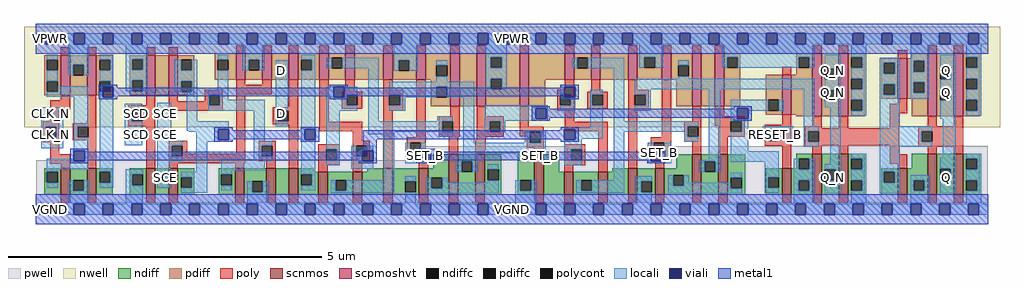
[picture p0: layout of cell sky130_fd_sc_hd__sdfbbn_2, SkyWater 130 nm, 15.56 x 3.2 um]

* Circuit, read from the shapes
.subckt sky130_fd_sc_hd__sdfbbn_2 CLK_N D RESET_B SCD SCE SET_B VGND VNB VPB VPWR Q Q_N
XM1 VGND CLK_N n1 VNB sky130_fd_pr__nfet_01v8 w=0.42 l=0.15
XM2 n2 n1 VGND VNB sky130_fd_pr__nfet_01v8 w=0.42 l=0.15
XM3 n3 SCD VGND VNB sky130_fd_pr__nfet_01v8 w=0.42 l=0.15
XM4 n4 SCE n3 VNB sky130_fd_pr__nfet_01v8 w=0.42 l=0.15
XM5 VGND SCE n5 VNB sky130_fd_pr__nfet_01v8 w=0.42 l=0.15
XM6 n6 n5 VGND VNB sky130_fd_pr__nfet_01v8 w=0.42 l=0.15
XM7 n4 D n6 VNB sky130_fd_pr__nfet_01v8 w=0.42 l=0.15
XM8 n7 n2 n4 VNB sky130_fd_pr__nfet_01v8 w=0.36 l=0.15
XM9 n8 n1 n7 VNB sky130_fd_pr__nfet_01v8 w=0.36 l=0.15
XM10 VGND n9 n8 VNB sky130_fd_pr__nfet_01v8 w=0.42 l=0.15
XM11 n10 SET_B VGND VNB sky130_fd_pr__nfet_01v8 w=0.42 l=0.15
XM12 n9 n7 n10 VNB sky130_fd_pr__nfet_01v8 w=0.64 l=0.15
XM13 n10 n11 n9 VNB sky130_fd_pr__nfet_01v8 w=0.64 l=0.15
XM14 n12 n9 VGND VNB sky130_fd_pr__nfet_01v8 w=0.64 l=0.15
XM15 n13 n1 n12 VNB sky130_fd_pr__nfet_01v8 w=0.36 l=0.15
XM16 n14 n2 n13 VNB sky130_fd_pr__nfet_01v8 w=0.36 l=0.15
XM17 VGND n15 n14 VNB sky130_fd_pr__nfet_01v8 w=0.42 l=0.15
XM18 n16 SET_B VGND VNB sky130_fd_pr__nfet_01v8 w=0.42 l=0.15
XM19 n15 n13 n16 VNB sky130_fd_pr__nfet_01v8 w=0.64 l=0.15
XM20 n16 n11 n15 VNB sky130_fd_pr__nfet_01v8 w=0.64 l=0.15
XM21 VGND RESET_B n11 VNB sky130_fd_pr__nfet_01v8 w=0.42 l=0.15
XM22 Q_N n15 VGND VNB sky130_fd_pr__nfet_01v8 w=0.65 l=0.15 m=2
XM23 VGND n15 n17 VNB sky130_fd_pr__nfet_01v8 w=0.42 l=0.15
XM24 Q n17 VGND VNB sky130_fd_pr__nfet_01v8 w=0.65 l=0.15 m=2
XM25 VPWR CLK_N n1 VPB sky130_fd_pr__pfet_01v8_hvt w=0.64 l=0.15
XM26 n2 n1 VPWR VPB sky130_fd_pr__pfet_01v8_hvt w=0.64 l=0.15
XM27 n18 SCD VPWR VPB sky130_fd_pr__pfet_01v8_hvt w=0.64 l=0.15
XM28 n4 n5 n18 VPB sky130_fd_pr__pfet_01v8_hvt w=0.64 l=0.15
XM29 VPWR SCE n5 VPB sky130_fd_pr__pfet_01v8_hvt w=0.42 l=0.15
XM30 n19 SCE VPWR VPB sky130_fd_pr__pfet_01v8_hvt w=0.42 l=0.15
XM31 n4 D n19 VPB sky130_fd_pr__pfet_01v8_hvt w=0.42 l=0.15
XM32 n7 n1 n4 VPB sky130_fd_pr__pfet_01v8_hvt w=0.42 l=0.15
XM33 n20 n2 n7 VPB sky130_fd_pr__pfet_01v8_hvt w=0.42 l=0.15
XM34 VPWR n9 n20 VPB sky130_fd_pr__pfet_01v8_hvt w=0.42 l=0.15
XM35 n9 SET_B VPWR VPB sky130_fd_pr__pfet_01v8_hvt w=0.42 l=0.15
XM36 n21 n7 n9 VPB sky130_fd_pr__pfet_01v8_hvt w=0.84 l=0.15
XM37 VPWR n11 n21 VPB sky130_fd_pr__pfet_01v8_hvt w=0.84 l=0.15
XM38 n22 n9 VPWR VPB sky130_fd_pr__pfet_01v8_hvt w=0.84 l=0.15
XM39 n13 n2 n22 VPB sky130_fd_pr__pfet_01v8_hvt w=0.42 l=0.15
XM40 n23 n1 n13 VPB sky130_fd_pr__pfet_01v8_hvt w=0.42 l=0.15
XM41 VPWR n15 n23 VPB sky130_fd_pr__pfet_01v8_hvt w=0.42 l=0.15
XM42 n15 SET_B VPWR VPB sky130_fd_pr__pfet_01v8_hvt w=0.42 l=0.15
XM43 n24 n13 n15 VPB sky130_fd_pr__pfet_01v8_hvt w=0.84 l=0.15
XM44 VPWR n11 n24 VPB sky130_fd_pr__pfet_01v8_hvt w=0.84 l=0.15
XM45 VPWR RESET_B n11 VPB sky130_fd_pr__pfet_01v8_hvt w=0.64 l=0.15
XM46 Q_N n15 VPWR VPB sky130_fd_pr__pfet_01v8_hvt w=1 l=0.15 m=2
XM47 VPWR n15 n17 VPB sky130_fd_pr__pfet_01v8_hvt w=0.64 l=0.15
XM48 Q n17 VPWR VPB sky130_fd_pr__pfet_01v8_hvt w=1 l=0.15 m=2
.ends

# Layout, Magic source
magic
tech sky130A
magscale 1 2
<< nwell >>
rect -38 261 3074 582
<< pwell >>
rect 2398 201 3035 203
rect 1241 157 1695 201
rect 2016 157 3035 201
rect 1 21 3035 157
rect 29 -17 63 21
<< scnmos >>
rect 79 47 109 131
rect 163 47 193 131
rect 351 47 381 131
rect 423 47 453 131
rect 635 47 665 131
rect 734 47 764 131
rect 806 47 836 131
rect 901 47 931 119
rect 1011 47 1041 119
rect 1107 47 1137 131
rect 1221 47 1251 131
rect 1317 47 1347 175
rect 1401 47 1431 175
rect 1589 47 1619 175
rect 1684 47 1714 119
rect 1793 47 1823 119
rect 1888 47 1918 131
rect 1974 47 2004 131
rect 2092 47 2122 175
rect 2176 47 2206 175
rect 2379 47 2409 131
rect 2476 47 2506 177
rect 2560 47 2590 177
rect 2748 47 2778 131
rect 2843 47 2873 177
rect 2927 47 2957 177
<< scpmoshvt >>
rect 79 363 109 491
rect 163 363 193 491
rect 351 363 381 491
rect 423 363 453 491
rect 638 413 668 497
rect 722 413 752 497
rect 806 413 836 497
rect 903 413 933 497
rect 987 413 1017 497
rect 1107 413 1137 497
rect 1213 413 1243 497
rect 1321 329 1351 497
rect 1405 329 1435 497
rect 1542 329 1572 497
rect 1686 413 1716 497
rect 1770 413 1800 497
rect 1888 413 1918 497
rect 1996 413 2026 497
rect 2092 329 2122 497
rect 2164 329 2194 497
rect 2379 301 2409 429
rect 2476 297 2506 497
rect 2560 297 2590 497
rect 2748 353 2778 481
rect 2843 297 2873 497
rect 2927 297 2957 497
<< ndiff >>
rect 27 119 79 131
rect 27 85 35 119
rect 69 85 79 119
rect 27 47 79 85
rect 109 93 163 131
rect 109 59 119 93
rect 153 59 163 93
rect 109 47 163 59
rect 193 119 245 131
rect 193 85 203 119
rect 237 85 245 119
rect 193 47 245 85
rect 299 111 351 131
rect 299 77 307 111
rect 341 77 351 111
rect 299 47 351 77
rect 381 47 423 131
rect 453 103 505 131
rect 453 69 463 103
rect 497 69 505 103
rect 453 47 505 69
rect 583 111 635 131
rect 583 77 591 111
rect 625 77 635 111
rect 583 47 635 77
rect 665 89 734 131
rect 665 55 690 89
rect 724 55 734 89
rect 665 47 734 55
rect 764 47 806 131
rect 836 119 886 131
rect 1267 131 1317 175
rect 1056 119 1107 131
rect 836 111 901 119
rect 836 77 846 111
rect 880 77 901 111
rect 836 47 901 77
rect 931 93 1011 119
rect 931 59 956 93
rect 990 59 1011 93
rect 931 47 1011 59
rect 1041 47 1107 119
rect 1137 89 1221 131
rect 1137 55 1177 89
rect 1211 55 1221 89
rect 1137 47 1221 55
rect 1251 101 1317 131
rect 1251 67 1261 101
rect 1295 67 1317 101
rect 1251 47 1317 67
rect 1347 153 1401 175
rect 1347 119 1357 153
rect 1391 119 1401 153
rect 1347 47 1401 119
rect 1431 127 1483 175
rect 1431 93 1441 127
rect 1475 93 1483 127
rect 1431 47 1483 93
rect 1537 93 1589 175
rect 1537 59 1545 93
rect 1579 59 1589 93
rect 1537 47 1589 59
rect 1619 119 1669 175
rect 2042 131 2092 175
rect 1838 119 1888 131
rect 1619 47 1684 119
rect 1714 93 1793 119
rect 1714 59 1739 93
rect 1773 59 1793 93
rect 1714 47 1793 59
rect 1823 47 1888 119
rect 1918 89 1974 131
rect 1918 55 1930 89
rect 1964 55 1974 89
rect 1918 47 1974 55
rect 2004 109 2092 131
rect 2004 75 2032 109
rect 2066 75 2092 109
rect 2004 47 2092 75
rect 2122 153 2176 175
rect 2122 119 2132 153
rect 2166 119 2176 153
rect 2122 47 2176 119
rect 2206 101 2261 175
rect 2424 161 2476 177
rect 2424 131 2432 161
rect 2206 67 2216 101
rect 2250 67 2261 101
rect 2206 47 2261 67
rect 2327 103 2379 131
rect 2327 69 2335 103
rect 2369 69 2379 103
rect 2327 47 2379 69
rect 2409 127 2432 131
rect 2466 127 2476 161
rect 2409 93 2476 127
rect 2409 59 2432 93
rect 2466 59 2476 93
rect 2409 47 2476 59
rect 2506 127 2560 177
rect 2506 93 2516 127
rect 2550 93 2560 127
rect 2506 47 2560 93
rect 2590 161 2642 177
rect 2590 127 2600 161
rect 2634 127 2642 161
rect 2793 131 2843 177
rect 2590 93 2642 127
rect 2590 59 2600 93
rect 2634 59 2642 93
rect 2590 47 2642 59
rect 2696 119 2748 131
rect 2696 85 2704 119
rect 2738 85 2748 119
rect 2696 47 2748 85
rect 2778 93 2843 131
rect 2778 59 2799 93
rect 2833 59 2843 93
rect 2778 47 2843 59
rect 2873 129 2927 177
rect 2873 95 2883 129
rect 2917 95 2927 129
rect 2873 47 2927 95
rect 2957 161 3009 177
rect 2957 127 2967 161
rect 3001 127 3009 161
rect 2957 93 3009 127
rect 2957 59 2967 93
rect 3001 59 3009 93
rect 2957 47 3009 59
<< pdiff >>
rect 27 477 79 491
rect 27 443 35 477
rect 69 443 79 477
rect 27 409 79 443
rect 27 375 35 409
rect 69 375 79 409
rect 27 363 79 375
rect 109 461 163 491
rect 109 427 119 461
rect 153 427 163 461
rect 109 363 163 427
rect 193 477 245 491
rect 193 443 203 477
rect 237 443 245 477
rect 193 409 245 443
rect 193 375 203 409
rect 237 375 245 409
rect 193 363 245 375
rect 299 479 351 491
rect 299 445 307 479
rect 341 445 351 479
rect 299 411 351 445
rect 299 377 307 411
rect 341 377 351 411
rect 299 363 351 377
rect 381 363 423 491
rect 453 477 505 491
rect 453 443 463 477
rect 497 443 505 477
rect 453 409 505 443
rect 571 477 638 497
rect 571 443 579 477
rect 613 443 638 477
rect 571 413 638 443
rect 668 477 722 497
rect 668 443 678 477
rect 712 443 722 477
rect 668 413 722 443
rect 752 413 806 497
rect 836 477 903 497
rect 836 443 846 477
rect 880 443 903 477
rect 836 413 903 443
rect 933 484 987 497
rect 933 450 943 484
rect 977 450 987 484
rect 933 413 987 450
rect 1017 413 1107 497
rect 1137 475 1213 497
rect 1137 441 1157 475
rect 1191 441 1213 475
rect 1137 413 1213 441
rect 1243 459 1321 497
rect 1243 425 1277 459
rect 1311 425 1321 459
rect 1243 413 1321 425
rect 453 375 463 409
rect 497 375 505 409
rect 453 363 505 375
rect 1259 391 1321 413
rect 1259 357 1277 391
rect 1311 357 1321 391
rect 1259 329 1321 357
rect 1351 329 1405 497
rect 1435 485 1542 497
rect 1435 451 1451 485
rect 1485 451 1542 485
rect 1435 417 1542 451
rect 1435 383 1451 417
rect 1485 383 1542 417
rect 1435 329 1542 383
rect 1572 413 1686 497
rect 1716 484 1770 497
rect 1716 450 1726 484
rect 1760 450 1770 484
rect 1716 413 1770 450
rect 1800 413 1888 497
rect 1918 485 1996 497
rect 1918 451 1940 485
rect 1974 451 1996 485
rect 1918 413 1996 451
rect 2026 459 2092 497
rect 2026 425 2048 459
rect 2082 425 2092 459
rect 2026 413 2092 425
rect 1572 329 1624 413
rect 2041 329 2092 413
rect 2122 329 2164 497
rect 2194 485 2246 497
rect 2194 451 2204 485
rect 2238 451 2246 485
rect 2424 485 2476 497
rect 2194 329 2246 451
rect 2424 451 2432 485
rect 2466 451 2476 485
rect 2424 429 2476 451
rect 2327 349 2379 429
rect 2327 315 2335 349
rect 2369 315 2379 349
rect 2327 301 2379 315
rect 2409 301 2476 429
rect 2424 297 2476 301
rect 2506 448 2560 497
rect 2506 414 2516 448
rect 2550 414 2560 448
rect 2506 380 2560 414
rect 2506 346 2516 380
rect 2550 346 2560 380
rect 2506 297 2560 346
rect 2590 485 2642 497
rect 2590 451 2600 485
rect 2634 451 2642 485
rect 2793 481 2843 497
rect 2590 417 2642 451
rect 2590 383 2600 417
rect 2634 383 2642 417
rect 2590 349 2642 383
rect 2696 467 2748 481
rect 2696 433 2704 467
rect 2738 433 2748 467
rect 2696 399 2748 433
rect 2696 365 2704 399
rect 2738 365 2748 399
rect 2696 353 2748 365
rect 2778 473 2843 481
rect 2778 439 2799 473
rect 2833 439 2843 473
rect 2778 405 2843 439
rect 2778 371 2799 405
rect 2833 371 2843 405
rect 2778 353 2843 371
rect 2590 315 2600 349
rect 2634 315 2642 349
rect 2590 297 2642 315
rect 2793 297 2843 353
rect 2873 449 2927 497
rect 2873 415 2883 449
rect 2917 415 2927 449
rect 2873 381 2927 415
rect 2873 347 2883 381
rect 2917 347 2927 381
rect 2873 297 2927 347
rect 2957 485 3009 497
rect 2957 451 2967 485
rect 3001 451 3009 485
rect 2957 417 3009 451
rect 2957 383 2967 417
rect 3001 383 3009 417
rect 2957 349 3009 383
rect 2957 315 2967 349
rect 3001 315 3009 349
rect 2957 297 3009 315
<< ndiffc >>
rect 35 85 69 119
rect 119 59 153 93
rect 203 85 237 119
rect 307 77 341 111
rect 463 69 497 103
rect 591 77 625 111
rect 690 55 724 89
rect 846 77 880 111
rect 956 59 990 93
rect 1177 55 1211 89
rect 1261 67 1295 101
rect 1357 119 1391 153
rect 1441 93 1475 127
rect 1545 59 1579 93
rect 1739 59 1773 93
rect 1930 55 1964 89
rect 2032 75 2066 109
rect 2132 119 2166 153
rect 2216 67 2250 101
rect 2335 69 2369 103
rect 2432 127 2466 161
rect 2432 59 2466 93
rect 2516 93 2550 127
rect 2600 127 2634 161
rect 2600 59 2634 93
rect 2704 85 2738 119
rect 2799 59 2833 93
rect 2883 95 2917 129
rect 2967 127 3001 161
rect 2967 59 3001 93
<< pdiffc >>
rect 35 443 69 477
rect 35 375 69 409
rect 119 427 153 461
rect 203 443 237 477
rect 203 375 237 409
rect 307 445 341 479
rect 307 377 341 411
rect 463 443 497 477
rect 579 443 613 477
rect 678 443 712 477
rect 846 443 880 477
rect 943 450 977 484
rect 1157 441 1191 475
rect 1277 425 1311 459
rect 463 375 497 409
rect 1277 357 1311 391
rect 1451 451 1485 485
rect 1451 383 1485 417
rect 1726 450 1760 484
rect 1940 451 1974 485
rect 2048 425 2082 459
rect 2204 451 2238 485
rect 2432 451 2466 485
rect 2335 315 2369 349
rect 2516 414 2550 448
rect 2516 346 2550 380
rect 2600 451 2634 485
rect 2600 383 2634 417
rect 2704 433 2738 467
rect 2704 365 2738 399
rect 2799 439 2833 473
rect 2799 371 2833 405
rect 2600 315 2634 349
rect 2883 415 2917 449
rect 2883 347 2917 381
rect 2967 451 3001 485
rect 2967 383 3001 417
rect 2967 315 3001 349
<< poly >>
rect 79 491 109 517
rect 163 491 193 517
rect 351 491 381 517
rect 423 491 453 517
rect 638 497 668 523
rect 722 497 752 523
rect 806 497 836 523
rect 903 497 933 523
rect 987 497 1017 523
rect 1107 497 1137 523
rect 1213 497 1243 523
rect 1321 497 1351 523
rect 1405 497 1435 523
rect 1542 497 1572 523
rect 1686 497 1716 523
rect 1770 497 1800 523
rect 1888 497 1918 523
rect 1996 497 2026 523
rect 2092 497 2122 523
rect 2164 497 2194 523
rect 2476 497 2506 523
rect 2560 497 2590 523
rect 638 397 668 413
rect 722 397 752 413
rect 539 365 596 381
rect 79 348 109 363
rect 45 318 109 348
rect 45 280 75 318
rect 21 264 75 280
rect 163 274 193 363
rect 351 331 381 363
rect 21 230 31 264
rect 65 230 75 264
rect 21 214 75 230
rect 117 264 193 274
rect 295 315 381 331
rect 423 345 453 363
rect 539 345 552 365
rect 423 331 552 345
rect 586 331 596 365
rect 423 315 596 331
rect 638 367 752 397
rect 295 281 305 315
rect 339 281 381 315
rect 295 265 381 281
rect 117 230 133 264
rect 167 230 193 264
rect 117 220 193 230
rect 45 176 75 214
rect 45 146 109 176
rect 79 131 109 146
rect 163 131 193 220
rect 351 131 381 265
rect 423 203 483 219
rect 423 169 433 203
rect 467 177 483 203
rect 638 177 668 367
rect 806 325 836 413
rect 755 315 836 325
rect 755 281 771 315
rect 805 281 836 315
rect 755 271 836 281
rect 467 169 668 177
rect 423 147 668 169
rect 710 203 764 219
rect 710 169 720 203
rect 754 169 764 203
rect 710 153 764 169
rect 423 131 453 147
rect 635 131 665 147
rect 734 131 764 153
rect 806 131 836 271
rect 903 279 933 413
rect 987 375 1017 413
rect 1107 381 1137 413
rect 975 365 1041 375
rect 975 331 991 365
rect 1025 331 1041 365
rect 975 321 1041 331
rect 1107 365 1171 381
rect 1107 331 1127 365
rect 1161 331 1171 365
rect 1107 315 1171 331
rect 903 249 1041 279
rect 1011 219 1041 249
rect 901 191 969 207
rect 901 157 925 191
rect 959 157 969 191
rect 901 141 969 157
rect 1011 203 1065 219
rect 1011 169 1021 203
rect 1055 169 1065 203
rect 1011 153 1065 169
rect 901 119 931 141
rect 1011 119 1041 153
rect 1107 131 1137 315
rect 1213 229 1243 413
rect 1686 381 1716 413
rect 1662 365 1716 381
rect 1770 375 1800 413
rect 1888 381 1918 413
rect 1662 331 1672 365
rect 1706 331 1716 365
rect 1321 297 1351 329
rect 1285 281 1351 297
rect 1285 247 1295 281
rect 1329 247 1351 281
rect 1285 231 1351 247
rect 1405 297 1435 329
rect 1405 281 1491 297
rect 1405 247 1447 281
rect 1481 247 1491 281
rect 1405 231 1491 247
rect 1542 263 1572 329
rect 1662 315 1716 331
rect 1758 365 1824 375
rect 1758 331 1774 365
rect 1808 331 1824 365
rect 1758 321 1824 331
rect 1888 365 1954 381
rect 1888 331 1910 365
rect 1944 331 1954 365
rect 1686 279 1716 315
rect 1888 315 1954 331
rect 1542 247 1619 263
rect 1686 249 1823 279
rect 1542 233 1575 247
rect 1183 213 1243 229
rect 1183 179 1193 213
rect 1227 193 1243 213
rect 1227 179 1251 193
rect 1183 163 1251 179
rect 1317 175 1347 231
rect 1405 220 1435 231
rect 1401 190 1435 220
rect 1565 213 1575 233
rect 1609 213 1619 247
rect 1565 197 1619 213
rect 1401 175 1431 190
rect 1589 175 1619 197
rect 1684 191 1751 207
rect 1221 131 1251 163
rect 1684 157 1707 191
rect 1741 157 1751 191
rect 1684 141 1751 157
rect 1684 119 1714 141
rect 1793 119 1823 249
rect 1888 131 1918 315
rect 1996 229 2026 413
rect 2379 429 2409 455
rect 2092 281 2122 329
rect 1960 213 2026 229
rect 2068 265 2122 281
rect 2164 297 2194 329
rect 2164 281 2260 297
rect 2164 267 2216 281
rect 2068 231 2078 265
rect 2112 231 2122 265
rect 2068 215 2122 231
rect 1960 179 1970 213
rect 2004 179 2026 213
rect 1960 163 2026 179
rect 2092 175 2122 215
rect 2176 247 2216 267
rect 2250 247 2260 281
rect 2379 269 2409 301
rect 2748 481 2778 507
rect 2843 497 2873 523
rect 2927 497 2957 523
rect 2748 337 2778 353
rect 2722 307 2778 337
rect 2176 231 2260 247
rect 2324 253 2409 269
rect 2476 265 2506 297
rect 2176 175 2206 231
rect 2324 219 2334 253
rect 2368 219 2409 253
rect 2324 203 2409 219
rect 1974 131 2004 163
rect 2379 131 2409 203
rect 2452 259 2506 265
rect 2560 259 2590 297
rect 2722 259 2752 307
rect 2843 265 2873 297
rect 2927 265 2957 297
rect 2452 249 2752 259
rect 2452 215 2462 249
rect 2496 215 2752 249
rect 2452 205 2752 215
rect 2452 199 2506 205
rect 2476 177 2506 199
rect 2560 177 2590 205
rect 2722 176 2752 205
rect 2814 249 2957 265
rect 2814 215 2824 249
rect 2858 215 2957 249
rect 2814 199 2957 215
rect 2843 177 2873 199
rect 2927 177 2957 199
rect 2722 146 2778 176
rect 2748 131 2778 146
rect 79 21 109 47
rect 163 21 193 47
rect 351 21 381 47
rect 423 21 453 47
rect 635 21 665 47
rect 734 21 764 47
rect 806 21 836 47
rect 901 21 931 47
rect 1011 21 1041 47
rect 1107 21 1137 47
rect 1221 21 1251 47
rect 1317 21 1347 47
rect 1401 21 1431 47
rect 1589 21 1619 47
rect 1684 21 1714 47
rect 1793 21 1823 47
rect 1888 21 1918 47
rect 1974 21 2004 47
rect 2092 21 2122 47
rect 2176 21 2206 47
rect 2379 21 2409 47
rect 2476 21 2506 47
rect 2560 21 2590 47
rect 2748 21 2778 47
rect 2843 21 2873 47
rect 2927 21 2957 47
<< polycont >>
rect 31 230 65 264
rect 552 331 586 365
rect 305 281 339 315
rect 133 230 167 264
rect 433 169 467 203
rect 771 281 805 315
rect 720 169 754 203
rect 991 331 1025 365
rect 1127 331 1161 365
rect 925 157 959 191
rect 1021 169 1055 203
rect 1672 331 1706 365
rect 1295 247 1329 281
rect 1447 247 1481 281
rect 1774 331 1808 365
rect 1910 331 1944 365
rect 1193 179 1227 213
rect 1575 213 1609 247
rect 1707 157 1741 191
rect 2078 231 2112 265
rect 1970 179 2004 213
rect 2216 247 2250 281
rect 2334 219 2368 253
rect 2462 215 2496 249
rect 2824 215 2858 249
<< locali >>
rect 0 527 29 561
rect 63 527 121 561
rect 155 527 213 561
rect 247 527 305 561
rect 339 527 397 561
rect 431 527 489 561
rect 523 527 581 561
rect 615 527 673 561
rect 707 527 765 561
rect 799 527 857 561
rect 891 527 949 561
rect 983 527 1041 561
rect 1075 527 1133 561
rect 1167 527 1225 561
rect 1259 527 1317 561
rect 1351 527 1409 561
rect 1443 527 1501 561
rect 1535 527 1593 561
rect 1627 527 1685 561
rect 1719 527 1777 561
rect 1811 527 1869 561
rect 1903 527 1961 561
rect 1995 527 2053 561
rect 2087 527 2145 561
rect 2179 527 2237 561
rect 2271 527 2329 561
rect 2363 527 2421 561
rect 2455 527 2513 561
rect 2547 527 2605 561
rect 2639 527 2697 561
rect 2731 527 2789 561
rect 2823 527 2881 561
rect 2915 527 2973 561
rect 3007 527 3036 561
rect 34 477 69 493
rect 34 443 35 477
rect 34 409 69 443
rect 103 461 169 527
rect 103 427 119 461
rect 153 427 169 461
rect 203 477 247 493
rect 237 443 247 477
rect 34 375 35 409
rect 203 409 247 443
rect 69 375 167 393
rect 34 359 167 375
rect 17 264 87 325
rect 17 230 31 264
rect 65 230 87 264
rect 17 195 87 230
rect 121 264 167 359
rect 121 230 133 264
rect 121 187 167 230
rect 34 153 121 161
rect 155 153 167 187
rect 34 127 167 153
rect 237 391 247 409
rect 286 479 357 527
rect 286 445 307 479
rect 341 445 357 479
rect 579 477 613 493
rect 286 411 357 445
rect 286 377 307 411
rect 341 377 357 411
rect 443 443 463 477
rect 497 443 515 477
rect 443 409 515 443
rect 443 375 463 409
rect 497 375 515 409
rect 659 477 728 527
rect 659 443 678 477
rect 712 443 728 477
rect 846 477 891 493
rect 579 381 613 443
rect 203 357 213 375
rect 34 119 69 127
rect 34 85 35 119
rect 203 119 247 357
rect 283 315 339 337
rect 283 281 305 315
rect 283 205 339 281
rect 387 219 431 339
rect 481 281 515 375
rect 549 365 613 381
rect 549 331 552 365
rect 586 349 613 365
rect 586 331 729 349
rect 549 315 729 331
rect 481 255 615 281
rect 481 250 581 255
rect 487 247 581 250
rect 512 221 581 247
rect 387 203 467 219
rect 387 169 433 203
rect 387 153 467 169
rect 512 215 615 221
rect 695 219 729 315
rect 765 315 805 475
rect 765 281 771 315
rect 765 265 805 281
rect 880 443 891 477
rect 927 450 943 484
rect 977 450 1093 484
rect 846 255 891 443
rect 846 221 857 255
rect 34 69 69 85
rect 103 59 119 93
rect 153 59 169 93
rect 237 85 247 119
rect 203 69 247 85
rect 286 111 341 127
rect 286 77 307 111
rect 103 17 169 59
rect 286 17 341 77
rect 387 69 429 153
rect 512 119 546 215
rect 695 203 754 219
rect 695 169 720 203
rect 695 159 754 169
rect 463 103 546 119
rect 497 69 546 103
rect 463 53 546 69
rect 591 153 754 159
rect 591 125 729 153
rect 591 111 625 125
rect 846 111 891 221
rect 925 357 949 391
rect 983 365 1025 391
rect 983 357 991 365
rect 925 331 991 357
rect 925 315 1025 331
rect 925 191 969 315
rect 1059 281 1093 450
rect 1141 475 1217 527
rect 1435 485 1501 527
rect 1141 441 1157 475
rect 1191 441 1217 475
rect 1277 459 1311 475
rect 1277 407 1311 425
rect 1435 451 1451 485
rect 1485 451 1501 485
rect 1924 485 2000 527
rect 1435 417 1501 451
rect 1710 450 1726 484
rect 1760 450 1876 484
rect 1924 451 1940 485
rect 1974 451 2000 485
rect 2188 485 2482 527
rect 2048 459 2082 475
rect 1127 391 1397 407
rect 1127 365 1277 391
rect 1161 357 1277 365
rect 1311 357 1397 391
rect 1435 383 1451 417
rect 1485 383 1501 417
rect 1672 391 1719 397
rect 1161 331 1177 357
rect 1127 315 1177 331
rect 1279 281 1329 297
rect 1059 247 1295 281
rect 1059 239 1143 247
rect 959 157 969 191
rect 925 141 969 157
rect 1005 169 1021 203
rect 1055 187 1075 203
rect 1005 153 1041 169
rect 1005 129 1075 153
rect 591 61 625 77
rect 674 55 690 89
rect 724 55 740 89
rect 880 77 891 111
rect 1109 93 1143 239
rect 1285 231 1329 247
rect 1363 213 1397 357
rect 1672 365 1685 391
rect 1706 331 1719 357
rect 1431 323 1632 331
rect 1431 289 1593 323
rect 1627 289 1632 323
rect 1672 315 1719 331
rect 1767 365 1808 381
rect 1767 331 1774 365
rect 1431 283 1632 289
rect 1431 281 1497 283
rect 1431 247 1447 281
rect 1481 247 1497 281
rect 1767 261 1808 331
rect 1684 255 1808 261
rect 1559 213 1575 247
rect 1609 213 1625 247
rect 1177 179 1193 213
rect 1227 193 1243 213
rect 1227 187 1259 193
rect 1177 153 1225 179
rect 1363 179 1625 213
rect 1684 221 1685 255
rect 1719 225 1808 255
rect 1842 281 1876 450
rect 2188 451 2204 485
rect 2238 451 2432 485
rect 2466 451 2482 485
rect 2048 417 2082 425
rect 2516 448 2566 493
rect 1910 383 2482 417
rect 1910 365 1960 383
rect 1944 331 1960 365
rect 1910 315 1960 331
rect 1842 265 2112 281
rect 1842 247 2078 265
rect 1719 221 1741 225
rect 1684 191 1741 221
rect 1363 153 1407 179
rect 1177 147 1259 153
rect 1341 119 1357 153
rect 1391 119 1407 153
rect 1684 157 1707 191
rect 1441 127 1475 143
rect 1684 141 1741 157
rect 846 61 891 77
rect 674 17 740 55
rect 940 59 956 93
rect 990 59 1143 93
rect 940 53 1143 59
rect 1177 89 1211 105
rect 1177 17 1211 55
rect 1245 67 1261 101
rect 1295 85 1311 101
rect 1842 93 1876 247
rect 2068 231 2078 247
rect 2068 215 2112 231
rect 1951 187 1970 213
rect 1951 153 1961 187
rect 2004 179 2026 213
rect 1995 153 2026 179
rect 2146 156 2182 383
rect 1951 147 2026 153
rect 2116 153 2182 156
rect 2116 119 2132 153
rect 2166 119 2182 153
rect 2216 323 2335 349
rect 2216 289 2237 323
rect 2271 315 2335 323
rect 2369 315 2385 349
rect 2216 281 2271 289
rect 2250 247 2271 281
rect 2448 265 2482 383
rect 2550 414 2566 448
rect 2516 380 2566 414
rect 2550 346 2566 380
rect 2516 326 2566 346
rect 2216 185 2271 247
rect 2318 253 2414 265
rect 2318 219 2334 253
rect 2368 219 2414 253
rect 2448 249 2496 265
rect 2448 215 2462 249
rect 2448 199 2496 215
rect 2216 151 2369 185
rect 1441 85 1475 93
rect 1295 67 1475 85
rect 1245 51 1475 67
rect 1529 59 1545 93
rect 1579 59 1595 93
rect 1529 17 1595 59
rect 1723 59 1739 93
rect 1773 59 1876 93
rect 1723 53 1876 59
rect 1912 89 1964 105
rect 1912 55 1930 89
rect 1912 17 1964 55
rect 2016 75 2032 109
rect 2066 85 2082 109
rect 2216 101 2250 117
rect 2066 75 2216 85
rect 2016 67 2216 75
rect 2016 51 2250 67
rect 2324 103 2369 151
rect 2324 69 2335 103
rect 2324 53 2369 69
rect 2416 127 2432 161
rect 2466 127 2482 161
rect 2532 143 2566 326
rect 2600 485 2647 527
rect 2634 451 2647 485
rect 2600 417 2647 451
rect 2634 383 2647 417
rect 2600 349 2647 383
rect 2634 315 2647 349
rect 2600 299 2647 315
rect 2691 467 2754 483
rect 2691 433 2704 467
rect 2738 433 2754 467
rect 2691 399 2754 433
rect 2691 365 2704 399
rect 2738 365 2754 399
rect 2691 265 2754 365
rect 2790 473 2849 527
rect 2790 439 2799 473
rect 2833 439 2849 473
rect 2790 405 2849 439
rect 2790 371 2799 405
rect 2833 371 2849 405
rect 2790 353 2849 371
rect 2883 449 2933 493
rect 2917 415 2933 449
rect 2883 381 2933 415
rect 2917 347 2933 381
rect 2883 289 2933 347
rect 2967 485 3015 527
rect 3001 451 3015 485
rect 2967 417 3015 451
rect 3001 383 3015 417
rect 2967 349 3015 383
rect 3001 315 3015 349
rect 2967 299 3015 315
rect 2691 249 2858 265
rect 2691 215 2824 249
rect 2691 199 2858 215
rect 2416 93 2482 127
rect 2416 59 2432 93
rect 2466 59 2482 93
rect 2416 17 2482 59
rect 2516 127 2566 143
rect 2550 93 2566 127
rect 2516 51 2566 93
rect 2600 161 2647 177
rect 2634 127 2647 161
rect 2600 93 2647 127
rect 2634 59 2647 93
rect 2600 17 2647 59
rect 2691 119 2754 199
rect 2892 165 2933 289
rect 2691 85 2704 119
rect 2738 85 2754 119
rect 2883 129 2933 165
rect 2691 51 2754 85
rect 2790 93 2849 109
rect 2790 59 2799 93
rect 2833 59 2849 93
rect 2790 17 2849 59
rect 2917 95 2933 129
rect 2883 51 2933 95
rect 2967 161 3015 177
rect 3001 127 3015 161
rect 2967 93 3015 127
rect 3001 59 3015 93
rect 2967 17 3015 59
rect 0 -17 29 17
rect 63 -17 121 17
rect 155 -17 213 17
rect 247 -17 305 17
rect 339 -17 397 17
rect 431 -17 489 17
rect 523 -17 581 17
rect 615 -17 673 17
rect 707 -17 765 17
rect 799 -17 857 17
rect 891 -17 949 17
rect 983 -17 1041 17
rect 1075 -17 1133 17
rect 1167 -17 1225 17
rect 1259 -17 1317 17
rect 1351 -17 1409 17
rect 1443 -17 1501 17
rect 1535 -17 1593 17
rect 1627 -17 1685 17
rect 1719 -17 1777 17
rect 1811 -17 1869 17
rect 1903 -17 1961 17
rect 1995 -17 2053 17
rect 2087 -17 2145 17
rect 2179 -17 2237 17
rect 2271 -17 2329 17
rect 2363 -17 2421 17
rect 2455 -17 2513 17
rect 2547 -17 2605 17
rect 2639 -17 2697 17
rect 2731 -17 2789 17
rect 2823 -17 2881 17
rect 2915 -17 2973 17
rect 3007 -17 3036 17
<< viali >>
rect 29 527 63 561
rect 121 527 155 561
rect 213 527 247 561
rect 305 527 339 561
rect 397 527 431 561
rect 489 527 523 561
rect 581 527 615 561
rect 673 527 707 561
rect 765 527 799 561
rect 857 527 891 561
rect 949 527 983 561
rect 1041 527 1075 561
rect 1133 527 1167 561
rect 1225 527 1259 561
rect 1317 527 1351 561
rect 1409 527 1443 561
rect 1501 527 1535 561
rect 1593 527 1627 561
rect 1685 527 1719 561
rect 1777 527 1811 561
rect 1869 527 1903 561
rect 1961 527 1995 561
rect 2053 527 2087 561
rect 2145 527 2179 561
rect 2237 527 2271 561
rect 2329 527 2363 561
rect 2421 527 2455 561
rect 2513 527 2547 561
rect 2605 527 2639 561
rect 2697 527 2731 561
rect 2789 527 2823 561
rect 2881 527 2915 561
rect 2973 527 3007 561
rect 121 153 155 187
rect 213 375 237 391
rect 237 375 247 391
rect 213 357 247 375
rect 581 221 615 255
rect 857 221 891 255
rect 949 357 983 391
rect 1041 169 1055 187
rect 1055 169 1075 187
rect 1041 153 1075 169
rect 1685 365 1719 391
rect 1685 357 1706 365
rect 1706 357 1719 365
rect 1593 289 1627 323
rect 1225 179 1227 187
rect 1227 179 1259 187
rect 1225 153 1259 179
rect 1685 221 1719 255
rect 1961 179 1970 187
rect 1970 179 1995 187
rect 1961 153 1995 179
rect 2237 289 2271 323
rect 29 -17 63 17
rect 121 -17 155 17
rect 213 -17 247 17
rect 305 -17 339 17
rect 397 -17 431 17
rect 489 -17 523 17
rect 581 -17 615 17
rect 673 -17 707 17
rect 765 -17 799 17
rect 857 -17 891 17
rect 949 -17 983 17
rect 1041 -17 1075 17
rect 1133 -17 1167 17
rect 1225 -17 1259 17
rect 1317 -17 1351 17
rect 1409 -17 1443 17
rect 1501 -17 1535 17
rect 1593 -17 1627 17
rect 1685 -17 1719 17
rect 1777 -17 1811 17
rect 1869 -17 1903 17
rect 1961 -17 1995 17
rect 2053 -17 2087 17
rect 2145 -17 2179 17
rect 2237 -17 2271 17
rect 2329 -17 2363 17
rect 2421 -17 2455 17
rect 2513 -17 2547 17
rect 2605 -17 2639 17
rect 2697 -17 2731 17
rect 2789 -17 2823 17
rect 2881 -17 2915 17
rect 2973 -17 3007 17
<< metal1 >>
rect 0 561 3036 592
rect 0 527 29 561
rect 63 527 121 561
rect 155 527 213 561
rect 247 527 305 561
rect 339 527 397 561
rect 431 527 489 561
rect 523 527 581 561
rect 615 527 673 561
rect 707 527 765 561
rect 799 527 857 561
rect 891 527 949 561
rect 983 527 1041 561
rect 1075 527 1133 561
rect 1167 527 1225 561
rect 1259 527 1317 561
rect 1351 527 1409 561
rect 1443 527 1501 561
rect 1535 527 1593 561
rect 1627 527 1685 561
rect 1719 527 1777 561
rect 1811 527 1869 561
rect 1903 527 1961 561
rect 1995 527 2053 561
rect 2087 527 2145 561
rect 2179 527 2237 561
rect 2271 527 2329 561
rect 2363 527 2421 561
rect 2455 527 2513 561
rect 2547 527 2605 561
rect 2639 527 2697 561
rect 2731 527 2789 561
rect 2823 527 2881 561
rect 2915 527 2973 561
rect 3007 527 3036 561
rect 0 496 3036 527
rect 201 391 259 397
rect 201 357 213 391
rect 247 388 259 391
rect 937 391 995 397
rect 937 388 949 391
rect 247 360 949 388
rect 247 357 259 360
rect 201 351 259 357
rect 937 357 949 360
rect 983 388 995 391
rect 1673 391 1731 397
rect 1673 388 1685 391
rect 983 360 1685 388
rect 983 357 995 360
rect 937 351 995 357
rect 1673 357 1685 360
rect 1719 357 1731 391
rect 1673 351 1731 357
rect 1581 323 1639 329
rect 1581 289 1593 323
rect 1627 320 1639 323
rect 2225 323 2283 329
rect 2225 320 2237 323
rect 1627 292 2237 320
rect 1627 289 1639 292
rect 1581 283 1639 289
rect 2225 289 2237 292
rect 2271 289 2283 323
rect 2225 283 2283 289
rect 569 255 627 261
rect 569 221 581 255
rect 615 252 627 255
rect 845 255 903 261
rect 845 252 857 255
rect 615 224 857 252
rect 615 221 627 224
rect 569 215 627 221
rect 845 221 857 224
rect 891 221 903 255
rect 1673 255 1731 261
rect 1673 252 1685 255
rect 845 215 903 221
rect 1044 224 1685 252
rect 1044 193 1087 224
rect 1673 221 1685 224
rect 1719 221 1731 255
rect 1673 215 1731 221
rect 109 187 167 193
rect 109 153 121 187
rect 155 184 167 187
rect 1029 187 1087 193
rect 1029 184 1041 187
rect 155 156 1041 184
rect 155 153 167 156
rect 109 147 167 153
rect 1029 153 1041 156
rect 1075 153 1087 187
rect 1029 147 1087 153
rect 1213 187 1271 193
rect 1213 153 1225 187
rect 1259 184 1271 187
rect 1949 187 2007 193
rect 1949 184 1961 187
rect 1259 156 1961 184
rect 1259 153 1271 156
rect 1213 147 1271 153
rect 1949 153 1961 156
rect 1995 153 2007 187
rect 1949 147 2007 153
rect 0 17 3036 48
rect 0 -17 29 17
rect 63 -17 121 17
rect 155 -17 213 17
rect 247 -17 305 17
rect 339 -17 397 17
rect 431 -17 489 17
rect 523 -17 581 17
rect 615 -17 673 17
rect 707 -17 765 17
rect 799 -17 857 17
rect 891 -17 949 17
rect 983 -17 1041 17
rect 1075 -17 1133 17
rect 1167 -17 1225 17
rect 1259 -17 1317 17
rect 1351 -17 1409 17
rect 1443 -17 1501 17
rect 1535 -17 1593 17
rect 1627 -17 1685 17
rect 1719 -17 1777 17
rect 1811 -17 1869 17
rect 1903 -17 1961 17
rect 1995 -17 2053 17
rect 2087 -17 2145 17
rect 2179 -17 2237 17
rect 2271 -17 2329 17
rect 2363 -17 2421 17
rect 2455 -17 2513 17
rect 2547 -17 2605 17
rect 2639 -17 2697 17
rect 2731 -17 2789 17
rect 2823 -17 2881 17
rect 2915 -17 2973 17
rect 3007 -17 3036 17
rect 0 -48 3036 -17
<< labels >>
flabel locali s 305 289 339 323 0 FreeSans 400 0 0 0 SCD
port 4 nsew signal input
flabel locali s 305 221 339 255 0 FreeSans 400 0 0 0 SCD
port 4 nsew signal input
flabel locali s 397 289 431 323 0 FreeSans 400 0 0 0 SCE
port 5 nsew signal input
flabel locali s 397 221 431 255 0 FreeSans 400 0 0 0 SCE
port 5 nsew signal input
flabel locali s 395 85 429 119 0 FreeSans 400 0 0 0 SCE
port 5 nsew signal input
flabel locali s 2340 221 2374 255 0 FreeSans 400 0 0 0 RESET_B
port 3 nsew signal input
flabel locali s 29 -17 63 17 3 FreeSans 400 0 0 0 VGND
port 7 nsew ground bidirectional abutment
flabel locali s 29 221 63 255 0 FreeSans 400 0 0 0 CLK_N
port 1 nsew clock input
flabel locali s 29 289 63 323 0 FreeSans 400 0 0 0 CLK_N
port 1 nsew clock input
flabel locali s 1225 153 1259 187 0 FreeSans 400 0 0 0 SET_B
port 6 nsew signal input
flabel locali s 2888 85 2922 119 0 FreeSans 400 0 0 0 Q
port 11 nsew signal output
flabel locali s 2888 357 2922 391 0 FreeSans 400 0 0 0 Q
port 11 nsew signal output
flabel locali s 2888 425 2922 459 0 FreeSans 400 0 0 0 Q
port 11 nsew signal output
flabel locali s 29 527 63 561 3 FreeSans 400 0 0 0 VPWR
port 10 nsew power bidirectional abutment
flabel locali s 765 289 799 323 0 FreeSans 200 0 0 0 D
port 2 nsew signal input
flabel locali s 765 425 799 459 0 FreeSans 200 0 0 0 D
port 2 nsew signal input
flabel locali s 2524 425 2558 459 0 FreeSans 400 0 0 0 Q_N
port 12 nsew signal output
flabel locali s 2524 357 2558 391 0 FreeSans 400 0 0 0 Q_N
port 12 nsew signal output
flabel locali s 2524 85 2558 119 0 FreeSans 400 0 0 0 Q_N
port 12 nsew signal output
flabel metal1 s 29 -17 63 17 0 FreeSans 200 0 0 0 VGND
port 7 nsew ground bidirectional abutment
flabel metal1 s 29 527 63 561 0 FreeSans 200 0 0 0 VPWR
port 10 nsew power bidirectional abutment
flabel nwell s 29 527 63 561 3 FreeSans 400 0 0 0 VPB
port 9 nsew power bidirectional
flabel nwell s 46 544 46 544 0 FreeSans 200 0 0 0 VPB
flabel pwell s 29 -17 63 17 3 FreeSans 400 0 0 0 VNB
port 8 nsew ground bidirectional
flabel pwell s 46 0 46 0 0 FreeSans 200 0 0 0 VNB
rlabel comment s 0 0 0 0 4 sdfbbn_2
rlabel locali s 1951 147 2026 213 1 SET_B
port 6 nsew signal input
rlabel metal1 s 1949 184 2007 193 1 SET_B
port 6 nsew signal input
rlabel metal1 s 1949 147 2007 156 1 SET_B
port 6 nsew signal input
rlabel metal1 s 1213 184 1271 193 1 SET_B
port 6 nsew signal input
rlabel metal1 s 1213 156 2007 184 1 SET_B
port 6 nsew signal input
rlabel metal1 s 1213 147 1271 156 1 SET_B
port 6 nsew signal input
rlabel metal1 s 0 -48 3036 48 1 VGND
port 7 nsew ground bidirectional abutment
rlabel metal1 s 0 496 3036 592 1 VPWR
port 10 nsew power bidirectional abutment
<< properties >>
string FIXED_BBOX 0 0 3036 544
string GDS_END 264324
string GDS_FILE $PDKPATH/libs.ref/sky130_fd_sc_hd/gds/sky130_fd_sc_hd.gds
string GDS_START 240950
string LEFclass CORE
string LEFsite unithd
string LEFsymmetry X Y R90
<< end >>
